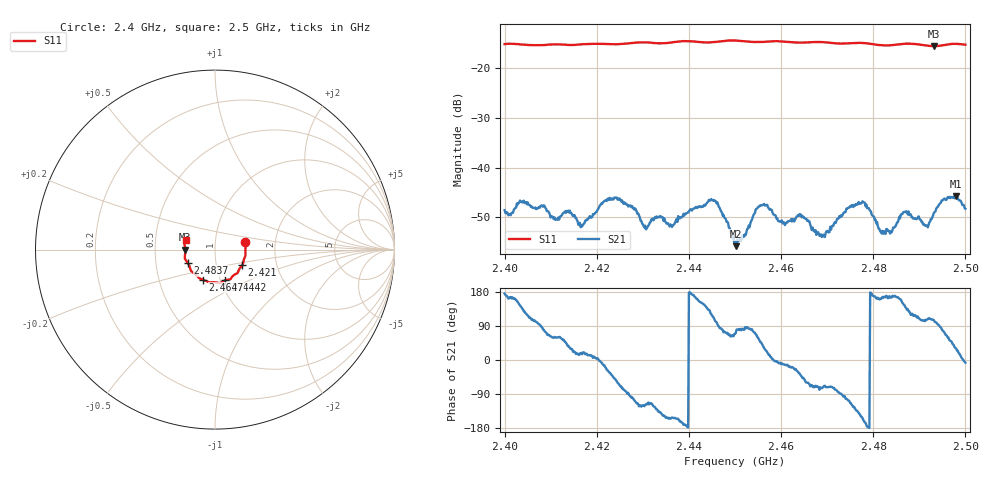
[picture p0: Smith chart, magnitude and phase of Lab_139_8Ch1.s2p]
# Hz S RI R 50
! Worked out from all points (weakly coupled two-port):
!   601 points, 2.4 GHz to 2.5 GHz, reference 50 ohm
!   highest |S21| = -45.75 dB at 2.498 GHz (marker M1); lowest = -55.8 dB at 2.4502 GHz (marker M2)
!   lowest |S11| = -15.6 dB at 2.4932 GHz (marker M3), VSWR 1.40, Z = 35.8 - j0.0939 ohm
!   |S11| at or under -10 dB: start of sweep to end of sweep
!   S12 and S22 are empty: the file has one direction only
!   S11 on the Smith chart (normalised r, x): 2.4 GHz: 1.40, +0.12; 2.421 GHz: 1.33, -0.24; 2.4442 GHz: 1.05, -0.37; 2.4647 GHz: 0.83, -0.29; 2.4837 GHz: 0.73, -0.11; 2.5 GHz: 0.72, +0.08
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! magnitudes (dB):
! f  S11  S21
! 2.4 GHz  -15.2  -48.5
! 2.4038 GHz  -15.3  -47.0
! 2.4167 GHz  -15.3  -51.6
! 2.421 GHz  -15.2  -47.2
! 2.4247 GHz  -15.2  -46.2
! 2.4307 GHz  -14.9  -52.4
! 2.4333 GHz  -15.1  -49.9
! 2.4363 GHz  -14.9  -51.9
! 2.4442 GHz  -14.9  -46.8
! 2.45 GHz  -14.5  -54.8
! 2.4502 GHz  -14.5  -55.8
! 2.4558 GHz  -14.8  -47.6
! 2.4647 GHz  -14.9  -49.7
! 2.4667 GHz  -14.8  -52.6
! 2.4692 GHz  -14.8  -53.5
! 2.4777 GHz  -15.0  -46.8
! 2.4833 GHz  -15.5  -52.7
! 2.4837 GHz  -15.5  -53.2
! 2.4868 GHz  -15.1  -48.9
! 2.4932 GHz  -15.6  -49.1
! 2.498 GHz  -15.2  -45.8
! 2.5 GHz  -15.3  -48.3
